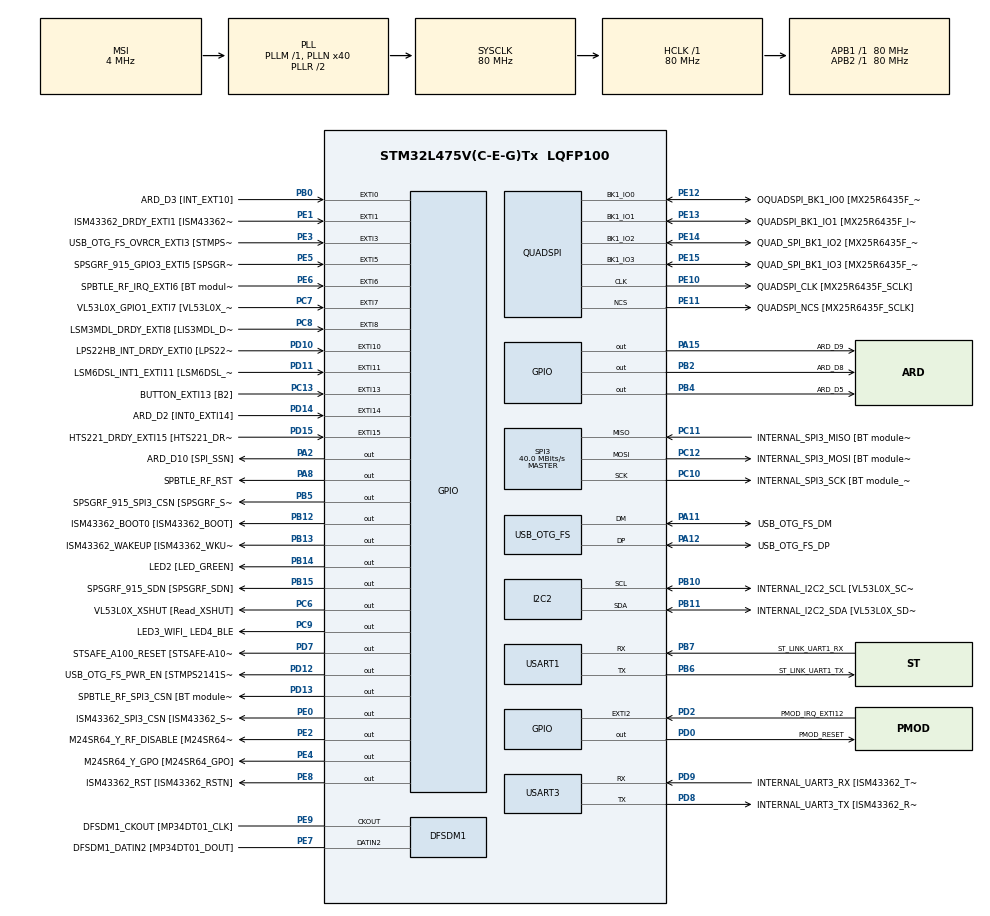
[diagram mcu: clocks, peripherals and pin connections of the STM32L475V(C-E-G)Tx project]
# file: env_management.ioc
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I2C2.Timing=0x10909CEC
Mcu.Family=STM32L4
Mcu.Name=STM32L475V(C-E-G)Tx
Mcu.Package=LQFP100
NVIC.EXTI15_10_IRQn=true\:0\:0\:false\:false\:true\:true\:true\:true
NVIC.EXTI9_5_IRQn=true\:0\:0\:false\:false\:true\:true\:true\:true
NVIC.PriorityGroup=NVIC_PRIORITYGROUP_4
NVIC.RTC_WKUP_IRQn=true\:0\:0\:false\:false\:true\:true\:true\:true
PA0.GPIO_Label=ARD_D1 [UART4_TX]
PA0.Signal=UART4_TX
PA1.GPIO_Label=ARD_D0 [UART4_RX]
PA1.Signal=UART4_RX
PA10.GPIO_Label=USB_OTG_FS_ID
PA10.Signal=USB_OTG_FS_ID
PA11.GPIO_Label=USB_OTG_FS_DM
PA11.Mode=Device_Only
PA11.Signal=USB_OTG_FS_DM
PA12.GPIO_Label=USB_OTG_FS_DP
PA12.Mode=Device_Only
PA12.Signal=USB_OTG_FS_DP
PA13\ (JTMS-SWDIO).GPIO_Label=SYS_JTMS_SWDIO
PA13\ (JTMS-SWDIO).Mode=Serial_Wire
PA13\ (JTMS-SWDIO).Signal=SYS_JTMS-SWDIO
PA14\ (JTCK-SWCLK).GPIO_Label=SYS_JTCK_SWCLK
PA14\ (JTCK-SWCLK).Mode=Serial_Wire
PA14\ (JTCK-SWCLK).Signal=SYS_JTCK-SWCLK
PA15\ (JTDI).GPIO_Label=ARD_D9
PA15\ (JTDI).Signal=GPIO_Output
PA2.GPIO_Label=ARD_D10 [SPI_SSN]
PA2.Signal=GPIO_Output
PA3.GPIO_Label=ARD_D4
PA3.Signal=S_TIM2_CH4
PA4.GPIO_Label=ARD_D7
PA4.Signal=ADCx_IN9
PA5.GPIO_Label=ARD_D13 [SPI1_SCK]
PA5.Signal=SPI1_SCK
PA6.GPIO_Label=ARD_D12 [SPI1_MISO]
PA6.Signal=SPI1_MISO
PA7.GPIO_Label=ARD_D11 [SPI1_MOSI]
PA7.Signal=SPI1_MOSI
PA8.GPIO_Label=SPBTLE_RF_RST
PA8.Signal=GPIO_Output
PA9.GPIO_Label=USB_OTG_FS_VBUS [STMPS2141STR_OUT]
PA9.Signal=USB_OTG_FS_VBUS
PB0.GPIO_Label=ARD_D3 [INT_EXT10]
PB0.Signal=GPXTI0
PB1.GPIO_Label=ARD_D6 [ADC1_IN6]
PB1.Signal=ADCx_IN16
PB10.GPIO_Label=INTERNAL_I2C2_SCL [VL53L0X_SCL]
PB10.GPIO_Pu=GPIO_PULLUP
PB10.Mode=I2C
PB10.Signal=I2C2_SCL
PB11.GPIO_Label=INTERNAL_I2C2_SDA [VL53L0X_SDA]
PB11.GPIO_Pu=GPIO_PULLUP
PB11.Mode=I2C
PB11.Signal=I2C2_SDA
PB12.GPIO_Label=ISM43362_BOOT0 [ISM43362_BOOT]
PB12.Signal=GPIO_Output
PB13.GPIO_Label=ISM43362_WAKEUP [ISM43362_WKUP]
PB13.Signal=GPIO_Output
PB14.GPIO_Label=LED2 [LED_GREEN]
PB14.Signal=GPIO_Output
PB15.GPIO_Label=SPSGRF_915_SDN [SPSGRF_SDN]
PB15.Signal=GPIO_Output
PB2.GPIO_Label=ARD_D8
PB2.Signal=GPIO_Output
PB3\ (JTDO-TRACESWO).GPIO_Label=SYS_JTD0_SWO
PB3\ (JTDO-TRACESWO).Signal=SYS_JTDO-SWO
PB4\ (NJTRST).GPIO_Label=ARD_D5
PB4\ (NJTRST).Signal=GPIO_Output
PB5.GPIO_Label=SPSGRF_915_SPI3_CSN [SPSGRF_SPI_CS]
PB5.PinState=GPIO_PIN_SET
PB5.Signal=GPIO_Output
PB6.GPIO_Label=ST_LINK_UART1_TX
PB6.Mode=Asynchronous
PB6.Signal=USART1_TX
PB7.GPIO_Label=ST_LINK_UART1_RX
PB7.Mode=Asynchronous
PB7.Signal=USART1_RX
PB8.GPIO_Label=ARD_D15 [I2C1_SCL]
PB8.Signal=I2C1_SCL
PB9.GPIO_Label=ARD_D14 [I2C1_SDA]
PB9.Signal=I2C1_SDA
PC0.GPIO_Label=ARD_A5 [ADC]
PC0.Signal=ADCx_IN1
PC1.GPIO_Label=ARD_A4 [ADC]
PC1.Signal=ADCx_IN2
PC10.GPIO_Label=INTERNAL_SPI3_SCK [BT module_SPI_SCLK] [ISM43362_SCK]
PC10.Mode=Full_Duplex_Master
PC10.Signal=SPI3_SCK
PC11.GPIO_Label=INTERNAL_SPI3_MISO [BT module_SPI_MISO] [ISM43362_MISO]
PC11.Mode=Full_Duplex_Master
PC11.Signal=SPI3_MISO
PC12.GPIO_Label=INTERNAL_SPI3_MOSI [BT module_SPI_MOSI] [ISM43362_MOSI]
PC12.Mode=Full_Duplex_Master
PC12.Signal=SPI3_MOSI
PC13.GPIO_Label=BUTTON_EXTI13 [B2]
PC13.GPIO_ModeDefaultEXTI=GPIO_MODE_IT_FALLING
PC13.Signal=GPXTI13
PC14-OSC32_IN\ (PC14).Mode=LSE-External-Oscillator
PC14-OSC32_IN\ (PC14).Signal=RCC_OSC32_IN
PC15-OSC32_OUT\ (PC15).Mode=LSE-External-Oscillator
PC15-OSC32_OUT\ (PC15).Signal=RCC_OSC32_OUT
PC2.GPIO_Label=ARD_A3 [ADC]
PC2.Signal=ADCx_IN3
PC3.GPIO_Label=ARD_A2 [ADC]
PC3.Signal=ADCx_IN4
PC4.GPIO_Label=ARD_A1 [ADC]
PC4.Signal=ADCx_IN13
PC5.GPIO_Label=ARD_A0 [ADC]
PC5.Signal=ADCx_IN14
PC6.GPIO_Label=VL53L0X_XSHUT [Read_XSHUT]
PC6.Signal=GPIO_Output
PC7.GPIO_Label=VL53L0X_GPIO1_EXTI7 [VL53L0X_GPIO1]
PC7.Signal=GPXTI7
PC8.GPIO_Label=LSM3MDL_DRDY_EXTI8 [LIS3MDL_DRDY]
PC8.Signal=GPXTI8
PC9.GPIO_Label=LED3_WIFI_ LED4_BLE
PC9.Signal=GPIO_Output
PD0.GPIO_Label=PMOD_RESET
PD0.Signal=GPIO_Output
PD1.GPIO_Label=PMOD_SPI2_SCK
PD1.Signal=SPI2_SCK
PD10.GPIO_Label=LPS22HB_INT_DRDY_EXTI0 [LPS22HB_INT_DRDY] 
PD10.Signal=GPXTI10
PD11.GPIO_Label=LSM6DSL_INT1_EXTI11 [LSM6DSL_INT1]
PD11.Signal=GPXTI11
PD12.GPIO_Label=USB_OTG_FS_PWR_EN [STMPS2141STR_EN]
PD12.Signal=GPIO_Output
PD13.GPIO_Label=SPBTLE_RF_SPI3_CSN [BT module_SPI_CS]
PD13.PinState=GPIO_PIN_SET
PD13.Signal=GPIO_Output
PD14.GPIO_Label=ARD_D2 [INT0_EXTI14]
PD14.Signal=GPXTI14
PD15.GPIO_Label=HTS221_DRDY_EXTI15 [HTS221_DRDY]
PD15.Signal=GPXTI15
PD2.GPIO_Label=PMOD_IRQ_EXTI12
PD2.Signal=GPXTI2
PD3.GPIO_Label=PMOD_UART2_CTS
PD3.Signal=USART2_CTS
PD4.GPIO_Label=PMOD_UART2_RTS
PD4.Signal=USART2_RTS
PD5.GPIO_Label=PMOD_UART2_TX
PD5.Signal=USART2_TX
PD6.GPIO_Label=PMOD_UART2_RX
PD6.Signal=USART2_RX
PD7.GPIO_Label=STSAFE_A100_RESET [STSAFE-A100_RESET]
PD7.Signal=GPIO_Output
PD8.GPIO_Label=INTERNAL_UART3_TX [ISM43362_RX]
PD8.Mode=Asynchronous
PD8.Signal=USART3_TX
PD9.GPIO_Label=INTERNAL_UART3_RX [ISM43362_TX]
PD9.Mode=Asynchronous
PD9.Signal=USART3_RX
PE0.GPIO_Label=ISM43362_SPI3_CSN [ISM43362_SSN]
PE0.PinState=GPIO_PIN_SET
PE0.Signal=GPIO_Output
PE1.GPIO_Label=ISM43362_DRDY_EXTI1 [ISM43362_DATARDY]
PE1.Signal=GPXTI1
PE10.GPIO_Label=QUADSPI_CLK [MX25R6435F_SCLK]
PE10.Mode=Single Bank
PE10.Signal=QUADSPI_CLK
PE11.GPIO_Label=QUADSPI_NCS [MX25R6435F_SCLK]
PE11.Mode=Single Bank
PE11.Signal=QUADSPI_NCS
PE12.GPIO_Label=OQUADSPI_BK1_IO0 [MX25R6435F_IO0]
PE12.Mode=Single Bank
PE12.Signal=QUADSPI_BK1_IO0
PE13.GPIO_Label=QUADSPI_BK1_IO1 [MX25R6435F_IO1]
PE13.Mode=Single Bank
PE13.Signal=QUADSPI_BK1_IO1
PE14.GPIO_Label=QUAD_SPI_BK1_IO2 [MX25R6435F_IO2]
PE14.Mode=Single Bank
PE14.Signal=QUADSPI_BK1_IO2
PE15.GPIO_Label=QUAD_SPI_BK1_IO3 [MX25R6435F_IO3]
PE15.Mode=Single Bank
PE15.Signal=QUADSPI_BK1_IO3
PE2.GPIO_Label=M24SR64_Y_RF_DISABLE [M24SR64_RFDIS]
PE2.Signal=GPIO_Output
PE3.GPIO_Label=USB_OTG_FS_OVRCR_EXTI3 [STMPS2141STR_FAULT]
PE3.Signal=GPXTI3
PE4.GPIO_Label=M24SR64_Y_GPO [M24SR64_GPO]
PE4.Signal=GPIO_Output
PE5.GPIO_Label=SPSGRF_915_GPIO3_EXTI5 [SPSGRF_GPIO_3]
PE5.Signal=GPXTI5
PE6.GPIO_Label=SPBTLE_RF_IRQ_EXTI6 [BT module_SPI_IRQ]
PE6.Signal=GPXTI6
PE7.GPIO_Label=DFSDM1_DATIN2 [MP34DT01_DOUT]
PE7.Signal=S_DATAIN2DFSDM1
PE8.GPIO_Label=ISM43362_RST [ISM43362_RSTN]
PE8.Signal=GPIO_Output
PE9.GPIO_Label=DFSDM1_CKOUT [MP34DT01_CLK]
PE9.Signal=S_CKOUTDFSDM1
ProjectManager.HeapSize=0x1200
ProjectManager.StackSize=0x1400
ProjectManager.TargetToolchain=EWARM V8.32
QUADSPI.ClockPrescaler=2
QUADSPI.FifoThreshold=4
QUADSPI.FlashSize=23
QUADSPI.SampleShifting=QSPI_SAMPLE_SHIFTING_HALFCYCLE
RCC.ADCFreq_Value=48000000
RCC.AHBFreq_Value=80000000
RCC.APB1Freq_Value=80000000
RCC.APB1TimFreq_Value=80000000
RCC.APB2Freq_Value=80000000
RCC.APB2TimFreq_Value=80000000
RCC.CortexFreq_Value=80000000
RCC.HCLKFreq_Value=80000000
RCC.HSE_VALUE=8000000
RCC.HSI_VALUE=16000000
RCC.MSI_VALUE=4000000
RCC.PLLN=40
RCC.PLLSAI1N=24
RCC.RTCClockSelection=RCC_RTCCLKSOURCE_LSE
RCC.SYSCLKFreq_VALUE=80000000
RCC.SYSCLKSource=RCC_SYSCLKSOURCE_PLLCLK
RCC.USBFreq_Value=48000000
RCC.VCOOutputFreq_Value=160000000
RTC.WakeUpCounter-WakeUp=1024
SH.ADCx_IN1.0=ADC1_IN1
SH.ADCx_IN13.0=ADC1_IN13
SH.ADCx_IN14.0=ADC1_IN14
SH.ADCx_IN16.0=ADC1_IN16
SH.ADCx_IN2.0=ADC1_IN2
SH.ADCx_IN3.0=ADC1_IN3
SH.ADCx_IN4.0=ADC1_IN4
SH.ADCx_IN9.0=ADC1_IN9
SH.S_CKOUTDFSDM1.0=DFSDM1_CKOUT,CKOUT
SH.S_CKOUTDFSDM1.1=DFSDM1_CKOUT,PDM_SPI_Input_from_ch12_and_Internal_Clock
SH.S_DATAIN2DFSDM1.0=DFSDM1_DATIN2,PDM_SPI_Input_from_ch12_and_Internal_Clock
SH.S_TIM2_CH4.0=TIM2_CH4
SPI3.CalculateBaudRate=40.0 MBits/s
SPI3.Direction=SPI_DIRECTION_2LINES
SPI3.Mode=SPI_MODE_MASTER
SPI3.VirtualType=VM_MASTER
USART1.VirtualMode-Asynchronous=VM_ASYNC
USART3.VirtualMode-Asynchronous=VM_ASYNC
USB_OTG_FS.VirtualMode=Device_Only
VP_RTC_VS_RTC_Activate.Mode=RTC_Enabled
VP_RTC_VS_RTC_WakeUp_intern.Mode=WakeUp
board=B-L475E-IOT01A1

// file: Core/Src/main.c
/* USER CODE BEGIN Header */
/**
  ******************************************************************************
  * @file           : main.c
  * @brief          : Main program body
  ******************************************************************************
  * @attention
  *
  * Copyright (c) 2025 STMicroelectronics.
  * All rights reserved.
  *
  * This software is licensed under terms that can be found in the LICENSE file
  * in the root directory of this software component.
  * If no LICENSE file comes with this software, it is provided AS-IS.
  *
  ******************************************************************************
  */
/* USER CODE END Header */
#include "main.h"
#include "dfsdm.h"
#include "i2c.h"
#include "quadspi.h"
#include "rtc.h"
#include "spi.h"
#include "usart.h"
#include "usb_otg.h"
#include "gpio.h"

/* USER CODE BEGIN PTD */
typedef enum {
    RANDOM_SELECTION,   // 随机选择
    FULL_BUFFER_SELECTION, // 选择数据最多的 FIFO
    PREDICTIVE_SELECTION  // 基于频率和占用率的预测选择
} FIFO_Selection_Mode;
/* USER CODE END PTD */

/* USER CODE BEGIN PD */
extern UART_HandleTypeDef hDiscoUart;
#ifdef __GNUC__
/* With GCC/RAISONANCE, small msg_info (option LD Linker->Libraries->Small msg_info
   set to 'Yes') calls __io_putchar() */
#define PUTCHAR_PROTOTYPE int __io_putchar(int ch)
#define GETCHAR_PROTOTYPE int __io_getchar(void)
#else
#define PUTCHAR_PROTOTYPE int fputc(int ch, FILE *f)
#define GETCHAR_PROTOTYPE int fgetc(FILE *f)
#endif /* __GNUC__ */
/* USER CODE END PD */

/* USER CODE BEGIN PV */
FIFO_Buffer pressure_fifo;
FIFO_Buffer temperature_fifo;
FIFO_Buffer humidity_fifo;
FIFO_Buffer accel_fifo;
FIFO_Buffer gyro_fifo;
FIFO_Buffer mag_fifo;

volatile uint8_t temp_alarm = 0;
volatile uint8_t humidity_alarm = 0;
volatile uint8_t pressure_alarm = 0;
volatile uint8_t accel_alarm = 0;
volatile uint8_t gyro_alarm = 0;
volatile uint8_t mag_alarm = 0;

volatile uint32_t temp_trigger_time = 0;
volatile uint32_t humidity_trigger_time = 0;
volatile uint32_t pressure_trigger_time = 0;
volatile uint32_t accel_trigger_time = 0;
volatile uint32_t gyro_trigger_time = 0;
volatile uint32_t mag_trigger_time = 0;

volatile SensorData temp_alarm_data;
volatile SensorData humidity_alarm_data;
volatile SensorData pressure_alarm_data;
volatile SensorData accel_alarm_data;
volatile SensorData gyro_alarm_data;
volatile SensorData mag_alarm_data;

volatile uint8_t temp_counter = 0;
volatile uint8_t humidity_counter = 0;
volatile uint8_t pressure_counter = 0;
volatile uint8_t accel_counter = 0;
volatile uint8_t gyro_counter = 0;
volatile uint8_t mag_counter = 0;

FIFO_Buffer *fifo_list[] = { &pressure_fifo, &temperature_fifo, &humidity_fifo,
                        &accel_fifo, &gyro_fifo, &mag_fifo };

/* USER CODE END PV */

void SystemClock_Config(void);
void alarm_response(void);
int FIFO_Select(FIFO_Selection_Mode mode);

int main(void)
{

  /* MCU Configuration--------------------------------------------------------*/

  /* Reset of all peripherals, Initializes the Flash interface and the Systick. */
  HAL_Init();

  /* Configure the system clock */
  SystemClock_Config();

  /* Initialize all configured peripherals */
  MX_GPIO_Init();
  MX_DFSDM1_Init();
  MX_I2C2_Init();
  MX_QUADSPI_Init();
  MX_SPI3_Init();
  MX_USART1_UART_Init();
  MX_USART3_UART_Init();
  MX_USB_OTG_FS_PCD_Init();
  MX_RTC_Init();

  /* USER CODE BEGIN 2 */
  BSP_PSENSOR_Init();
  BSP_TSENSOR_Init();
  BSP_HSENSOR_Init();
  BSP_ACCELERO_Init();
  BSP_GYRO_Init();
  BSP_MAGNETO_Init();

  HAL_RTCEx_SetWakeUpTimer_IT(&hrtc, 1024, RTC_WAKEUPCLOCK_RTCCLK_DIV16);

  BSP_LED_Init(LED2);

  /* Configure the User Button in GPIO Mode */
  BSP_PB_Init(BUTTON_USER, BUTTON_MODE_GPIO);

  /* Initialize all configured peripherals */
  hDiscoUart.Instance = DISCOVERY_COM1;
  hDiscoUart.Init.BaudRate = 115200;
  hDiscoUart.Init.WordLength = UART_WORDLENGTH_8B;
  hDiscoUart.Init.StopBits = UART_STOPBITS_1;
  hDiscoUart.Init.Parity = UART_PARITY_NONE;
  hDiscoUart.Init.Mode = UART_MODE_TX_RX;
  hDiscoUart.Init.HwFlowCtl = UART_HWCONTROL_NONE;
  hDiscoUart.Init.OverSampling = UART_OVERSAMPLING_16;
  hDiscoUart.Init.OneBitSampling = UART_ONE_BIT_SAMPLE_DISABLE;
  hDiscoUart.AdvancedInit.AdvFeatureInit = UART_ADVFEATURE_NO_INIT;

  BSP_COM_Init(COM1, &hDiscoUart);

  printf("Press User button to put LED2 ON \n");
  while(BSP_PB_GetState(BUTTON_USER) == GPIO_PIN_RESET);
  while(BSP_PB_GetState(BUTTON_USER) == GPIO_PIN_SET);
  BSP_LED_On(LED2);
  /* USER CODE END 2 */

  /* Infinite loop */
  while (1)
  {
    printf("----------------------------------------------------------------\n");
    alarm_response();

    SensorData data;

    // 随机从 FIFO 读取数据
    int selected_fifo = FIFO_Select(3);
    switch (selected_fifo) {
        case 0:
            if (FIFO_Pop(&pressure_fifo, &data)) {
                printf("[%-11s] Pressure: %.2f hPa | Timestamp: %lu ms\n", "FIFO POP", data.value[0], data.timestamp);
                fflush(stdout);
            }
            break;
        case 1:
            if (FIFO_Pop(&temperature_fifo, &data)) {
                printf("[%-11s] Temperature: %.2f °C | Timestamp: %lu ms\n", "FIFO POP", data.value[0], data.timestamp);
                fflush(stdout);
            }
            break;
        case 2:
            if (FIFO_Pop(&humidity_fifo, &data)) {
                printf("[%-11s] Humidity: %.2f%% RH | Timestamp: %lu ms\n", "FIFO POP", data.value[0], data.timestamp);
                fflush(stdout);
            }
            break;
        case 3:
            if (FIFO_Pop(&accel_fifo, &data)) {
                printf("[%-11s] Acceleration: X=%.2f g, Y=%.2f g, Z=%.2f g | Timestamp: %lu ms\n",
                      "FIFO POP", data.value[0], data.value[1], data.value[2], data.timestamp);
                fflush(stdout);
            }
            break;
        case 4:
            if (FIFO_Pop(&gyro_fifo, &data)) {
                printf("[%-11s] Gyroscope: X=%.2f °/s, Y=%.2f °/s, Z=%.2f °/s | Timestamp: %lu ms\n",
                      "FIFO POP", data.value[0], data.value[1], data.value[2], data.timestamp);
                fflush(stdout);
            }
            break;
        case 5:
            if (FIFO_Pop(&mag_fifo, &data)) {
                printf("[%-11s] Magnetometer: X=%.2f Gauss, Y=%.2f Gauss, Z=%.2f Gauss | Timestamp: %lu ms\n",
                      "FIFO POP", data.value[0], data.value[1], data.value[2], data.timestamp);
                fflush(stdout);
            }
            break;
    }

    log_missed_percentage();
    log_average_latency();

    HAL_Delay(500);
  }
}

void SystemClock_Config(void)
{
  RCC_OscInitTypeDef RCC_OscInitStruct = {0};
  RCC_ClkInitTypeDef RCC_ClkInitStruct = {0};

  /** Configure the main internal regulator output voltage
  */
  if (HAL_PWREx_ControlVoltageScaling(PWR_REGULATOR_VOLTAGE_SCALE1) != HAL_OK)
  {
    Error_Handler();
  }

  /** Configure LSE Drive Capability
  */
  HAL_PWR_EnableBkUpAccess();
  __HAL_RCC_LSEDRIVE_CONFIG(RCC_LSEDRIVE_LOW);

  /** Initializes the RCC Oscillators according to the specified parameters
  * in the RCC_OscInitTypeDef structure.
  */
  RCC_OscInitStruct.OscillatorType = RCC_OSCILLATORTYPE_LSE|RCC_OSCILLATORTYPE_MSI;
  RCC_OscInitStruct.LSEState = RCC_LSE_ON;
  RCC_OscInitStruct.MSIState = RCC_MSI_ON;
  RCC_OscInitStruct.MSICalibrationValue = 0;
  RCC_OscInitStruct.MSIClockRange = RCC_MSIRANGE_6;
  RCC_OscInitStruct.PLL.PLLState = RCC_PLL_ON;
  RCC_OscInitStruct.PLL.PLLSource = RCC_PLLSOURCE_MSI;
  RCC_OscInitStruct.PLL.PLLM = 1;
  RCC_OscInitStruct.PLL.PLLN = 40;
  RCC_OscInitStruct.PLL.PLLP = RCC_PLLP_DIV7;
  RCC_OscInitStruct.PLL.PLLQ = RCC_PLLQ_DIV2;
  RCC_OscInitStruct.PLL.PLLR = RCC_PLLR_DIV2;
  if (HAL_RCC_OscConfig(&RCC_OscInitStruct) != HAL_OK)
  {
    Error_Handler();
  }

  /** Initializes the CPU, AHB and APB buses clocks
  */
  RCC_ClkInitStruct.ClockType = RCC_CLOCKTYPE_HCLK|RCC_CLOCKTYPE_SYSCLK
                              |RCC_CLOCKTYPE_PCLK1|RCC_CLOCKTYPE_PCLK2;
  RCC_ClkInitStruct.SYSCLKSource = RCC_SYSCLKSOURCE_PLLCLK;
  RCC_ClkInitStruct.AHBCLKDivider = RCC_SYSCLK_DIV1;
  RCC_ClkInitStruct.APB1CLKDivider = RCC_HCLK_DIV1;
  RCC_ClkInitStruct.APB2CLKDivider = RCC_HCLK_DIV1;

  if (HAL_RCC_ClockConfig(&RCC_ClkInitStruct, FLASH_LATENCY_4) != HAL_OK)
  {
    Error_Handler();
  }

  /** Enable MSI Auto calibration
  */
  HAL_RCCEx_EnableMSIPLLMode();
}

/* USER CODE BEGIN 4 */
void HAL_RTCEx_WakeUpTimerEventCallback(RTC_HandleTypeDef *hrtc) {
    HAL_GPIO_TogglePin(GPIOC, GPIO_PIN_9); // LED 触发，表示 RTC 运行

    SensorData data;

    // **增加计数器**
    temp_counter++;
    humidity_counter++;
    pressure_counter++;
    accel_counter++;
    gyro_counter++;
    mag_counter++;

    // **温度数据**
    if (temp_counter * TIMER_INTERVAL_MS >= TEMP_TRIGGER_PERIOD) {
        temp_counter = 0;  // 计数清零
        data = get_Temperature();
        if (data.value[0] >= TEMPERATURE_UPPER_THRESHOLD) {
            temp_alarm = 1;
            temp_alarm_data = data;
            temp_trigger_time = HAL_GetTick();
        } else if (data.value[0] <= TEMPERATURE_LOWER_THRESHOLD) {
            temp_alarm = 2;
            temp_alarm_data = data;
            temp_trigger_time = HAL_GetTick();
        } else {
            FIFO_Push(&temperature_fifo, data);
        }
    }

    // **湿度数据**
    if (humidity_counter * TIMER_INTERVAL_MS >= HUMIDITY_TRIGGER_PERIOD) {
        humidity_counter = 0;
        data = get_Humidity();
        if (data.value[0] >= HUMIDITY_UPPER_THRESHOLD) {
            humidity_alarm = 1;
            humidity_alarm_data = data;
            humidity_trigger_time = HAL_GetTick();
        } else if (data.value[0] <= HUMIDITY_LOWER_THRESHOLD) {
            humidity_alarm = 2;
            humidity_alarm_data = data;
            humidity_trigger_time = HAL_GetTick();
        } else {
            FIFO_Push(&humidity_fifo, data);
        }
    }

    // **压力数据**
    if (pressure_counter * TIMER_INTERVAL_MS >= PRESSURE_TRIGGER_PERIOD) {
        pressure_counter = 0;
        data = get_Pressure();
        if (data.value[0] >= PRESSURE_UPPER_THRESHOLD) {
            pressure_alarm = 1;
            pressure_alarm_data = data;
            pressure_trigger_time = HAL_GetTick();
        } else if (data.value[0] <= PRESSURE_LOWER_THRESHOLD) {
            pressure_alarm = 2;
            pressure_alarm_data = data;
            pressure_trigger_time = HAL_GetTick();
        } else {
            FIFO_Push(&pressure_fifo, data);
        }
    }

    // **加速度数据**
    if (accel_counter * TIMER_INTERVAL_MS >= ACCEL_TRIGGER_PERIOD) {
        accel_counter = 0;
        data = get_Acceleration();
        if (data.value[0] >= ACCELERATION_THRESHOLD || data.value[1] >= ACCELERATION_THRESHOLD || data.value[2] >= ACCELERATION_THRESHOLD) {
            accel_alarm = 1;
            accel_alarm_data = data;
            accel_trigger_time = HAL_GetTick();
        } else {
            FIFO_Push(&accel_fifo, data);
        }
    }

    // **陀螺仪数据**
    if (gyro_counter * TIMER_INTERVAL_MS >= GYRO_TRIGGER_PERIOD) {
        gyro_counter = 0;
        data = get_Gyroscope();
        if (data.value[0] >= GYROSCOPE_THRESHOLD || data.value[1] >= GYROSCOPE_THRESHOLD || data.value[2] >= GYROSCOPE_THRESHOLD) {
            gyro_alarm = 1;
            gyro_alarm_data = data;
            gyro_trigger_time = HAL_GetTick();
        } else {
            FIFO_Push(&gyro_fifo, data);
        }
    }

    // **磁力计数据**
    if (mag_counter * TIMER_INTERVAL_MS >= MAG_TRIGGER_PERIOD) {
        mag_counter = 0;
        data = get_Magnetometer();
        if (data.value[0] >= MAGNETIC_FIELD_THRESHOLD || data.value[1] >= MAGNETIC_FIELD_THRESHOLD || data.value[2] >= MAGNETIC_FIELD_THRESHOLD) {
            mag_alarm = 1;
            mag_alarm_data = data;
            mag_trigger_time = HAL_GetTick();
        } else {
            FIFO_Push(&mag_fifo, data);
        }
    }
}

void alarm_response(void) {
    if (temp_alarm == 1) {
        printf("[%-11s] Temperature too HIGH: %.2f °C! Cooling activated.\n", "ALERT", temp_alarm_data.value[0]);
        log_response_delay(temp_trigger_time, "HIGH Temperature");
        process_control_actions(0);
        temp_alarm = 0;  // 清除报警
    } else if (temp_alarm == 2) {
        printf("[%-11s] Temperature too LOW: %.2f °C! No action required.\n", "ALERT", temp_alarm_data.value[0]);
        log_response_delay(temp_trigger_time, "LOW Temperature");
        temp_alarm = 0;
    }

    if (humidity_alarm == 1) {
        printf("[%-11s] Humidity too HIGH: %.2f%% RH! No action required.\n", "ALERT", humidity_alarm_data.value[0]);
        log_response_delay(humidity_trigger_time, "HIGH Humidity");
        humidity_alarm = 0;
    } else if (humidity_alarm == 2) {
        printf("[%-11s] Humidity too LOW: %.2f%% RH! Humidifier activated.\n", "ALERT", humidity_alarm_data.value[0]);
        log_response_delay(humidity_trigger_time, "LOW Humidity");
        process_control_actions(1);
        humidity_alarm = 0;
    }

    if (pressure_alarm == 1) {
        printf("[%-11s] Pressure too HIGH: %.2f hPa!\n", "ALERT", pressure_alarm_data.value[0]);
        log_response_delay(pressure_trigger_time, "HIGH Pressure");
        pressure_alarm = 0;
    } else if (pressure_alarm == 2) {
        printf("[%-11s] Pressure too LOW: %.2f hPa!\n", "ALERT", pressure_alarm_data.value[0]);
        log_response_delay(pressure_trigger_time, "LOW Pressure");
        pressure_alarm = 0;
    }

    if (accel_alarm == 1) {
        printf("[%-11s] High Vibration Detected: X=%.2f g, Y=%.2f g, Z=%.2f g! Alarm triggered.\n",
               "ALERT", accel_alarm_data.value[0], accel_alarm_data.value[1], accel_alarm_data.value[2]);
        log_response_delay(accel_trigger_time, "High Vibration");
        process_control_actions(2);
        accel_alarm = 0;
    }

    if (gyro_alarm == 1) {
        printf("[%-11s] Unstable Rotation Detected: X=%.2f °/s, Y=%.2f °/s, Z=%.2f °/s! Alarm triggered.\n",
               "ALERT", gyro_alarm_data.value[0], gyro_alarm_data.value[1], gyro_alarm_data.value[2]);
        log_response_delay(gyro_trigger_time, "Unstable Rotation");
        process_control_actions(2);
        gyro_alarm = 0;
    }

    if (mag_alarm == 1) {
        printf("[%-11s] Strong Magnetic Field Detected: X=%.2f Gauss, Y=%.2f Gauss, Z=%.2f Gauss!\n",
               "ALERT", mag_alarm_data.value[0], mag_alarm_data.value[1], mag_alarm_data.value[2]);
        log_response_delay(mag_trigger_time, "Strong Magnetic Field");
        mag_alarm = 0;
    }
}

int FIFO_Select(FIFO_Selection_Mode mode) {
    int selected_fifo = 0;
    int max_size = 0;

    switch (mode) {
        case RANDOM_SELECTION:
            selected_fifo = rand() % 6;  // 生成 0~5 的随机数
            break;

        case FULL_BUFFER_SELECTION:
            for (int i = 0; i < 6; i++) {
                int current_size = FIFO_GetUsage(fifo_list[i]); // 获取当前 FIFO 数据量
                if (current_size > max_size) {
                    max_size = current_size;
                    selected_fifo = i;
                }
            }
            break;

        case PREDICTIVE_SELECTION:
            // 这里可以根据传感器采样频率、FIFO 占用率等进行优化选择
            for (int i = 0; i < 6; i++) {
                int current_size = FIFO_GetUsage(fifo_list[i]);
                float occupancy = (float)current_size / FIFO_GetUsage(fifo_list[i]);  // 计算占用率
                if (occupancy > 0.75) {  // 如果 FIFO 使用率超过 75%，优先选择
                    selected_fifo = i;
                    break;
                }
            }
            selected_fifo = rand() % 6;
            break;

        default:
            selected_fifo = 0;  // 默认返回第一个 FIFO
            break;
    }

    return selected_fifo;
}

/**
  * @brief Retargets the C library msg_info function to the USART.
  * @param None
  * @retval None
  */
PUTCHAR_PROTOTYPE
{
  /* Place your implementation of fputc here */
  /* e.g. write a character to the serial port and Loop until the end of transmission */
  while (HAL_OK != HAL_UART_Transmit(&hDiscoUart, (uint8_t *) &ch, 1, 30000))
  {
    ;
  }
  return ch;
}

/**
  * @brief Retargets the C library scanf function to the USART.
  * @param None
  * @retval None
  */
GETCHAR_PROTOTYPE
{
  /* Place your implementation of fgetc here */
  /* e.g. readwrite a character to the USART2 and Loop until the end of transmission */
  uint8_t ch = 0;
  while (HAL_OK != HAL_UART_Receive(&hDiscoUart, (uint8_t *)&ch, 1, 30000))
  {
    ;
  }
  return ch;
}

/* USER CODE END 4 */

void Error_Handler(void)
{
  __disable_irq();
  while (1)
  {
  }
}
